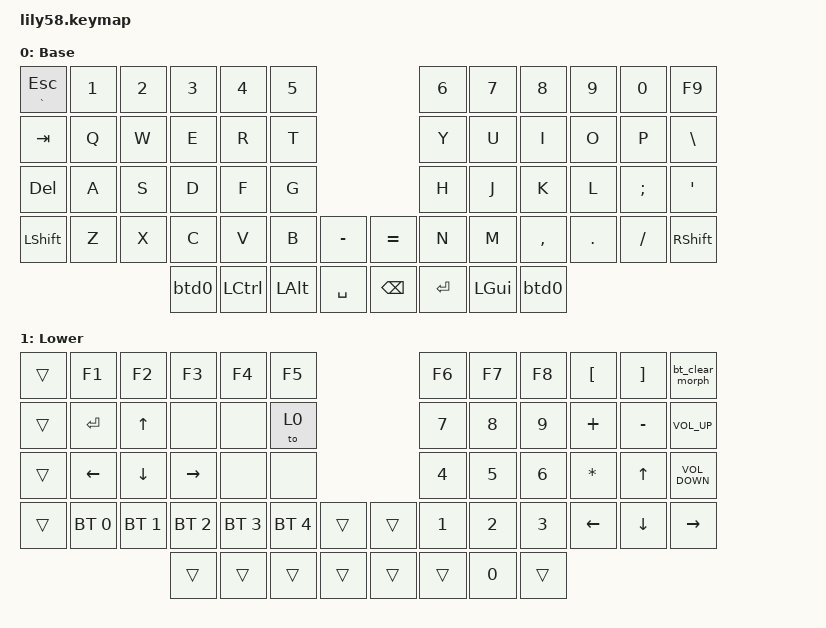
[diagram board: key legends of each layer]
/*
 * Copyright (c) 2020 The ZMK Contributors
 *
 * SPDX-License-Identifier: MIT
 */

#include <behaviors.dtsi>
#include <dt-bindings/zmk/bt.h>
#include <dt-bindings/zmk/keys.h>

/ {
    behaviors {
        btd0: tap_dance_bottom {
            compatible = "zmk,behavior-tap-dance";
            #binding-cells = <0>;
            tapping-term-ms = <150>;
            bindings = <&mo 1>, <&to 1>;
        };

        esc_grave: esc_grave_hold_tap {
            compatible = "zmk,behavior-hold-tap";
            #binding-cells = <2>;
            flavor = "hold-preferred";
            tapping-term-ms = <150>;
            bindings = <&kp>, <&kp>;
        };

        bt_clear_morph: bt_clear_morph {
            compatible = "zmk,behavior-mod-morph";
            #binding-cells = <0>;
            bindings = <&kp F10>, <&bt BT_CLR>;

            mods = <(MOD_LCTL)>;
        };
    };
};

/ {
    keymap {
        compatible = "zmk,keymap";

        default_layer {
            // ------------------------------------------------------------------------------------------------------------
            // |  ESC  |  1  |  2  |  3   |  4   |  5   |                   |  6   |  7    |  8    |  9   |   0   |   `   |
            // |  TAB  |  Q  |  W  |  E   |  R   |  T   |                   |  Y   |  U    |  I    |  O   |   P   |   -   |
            // |  CTRL |  A  |  S  |  D   |  F   |  G   |                   |  H   |  J    |  K    |  L   |   ;   |   '   |
            // | SHIFT |  Z  |  X  |  C   |  V   |  B   |   "["  |  |  "]"  |  N   |  M    |  ,    |  .   |   /   | SHIFT |
            //                     | ALT  | GUI  | LOWER|  SPACE |  | ENTER | RAISE| BSPC  | GUI   |

            display-name = "Base";
            bindings = <
&esc_grave GRAVE ESC  &kp N1  &kp N2  &kp N3  &kp N4            &kp N5                                    &kp N6     &kp N7        &kp N8     &kp N9   &kp N0    &kp F9
&kp TAB               &kp Q   &kp W   &kp E   &kp R             &kp T                                     &kp Y      &kp U         &kp I      &kp O    &kp P     &kp BACKSLASH
&kp DELETE            &kp A   &kp S   &kp D   &kp F             &kp G                                     &kp H      &kp J         &kp K      &kp L    &kp SEMI  &kp SQT
&kp LSHFT             &kp Z   &kp X   &kp C   &kp V             &kp B         &kp MINUS    &kp EQUAL      &kp N      &kp M         &kp COMMA  &kp DOT  &kp FSLH  &kp RSHFT
                                      &btd0   &kp LEFT_CONTROL  &kp LEFT_ALT  &kp SPACE    &kp BACKSPACE  &kp ENTER  &kp LEFT_GUI  &btd0
            >;
        };

        lower_layer {
            // ------------------------------------------------------------------------------------------------------------
            // | BTCLR | BT1 | BT2 |  BT3 |  BT4 |  BT5 |                   |      |       |       |      |       |       |
            // |  F1   |  F2 |  F3 |  F4  |  F5  |  F6  |                   |  F7  |  F8   |  F9   |  F10 |  F11  |  F12  |
            // |   `   |  !  |  @  |  #   |  $   |  %   |                   |  ^   |  &    |  *    |  (   |   )   |   ~   |
            // |       |     |     |      |      |      |        |  |       |      |  _    |  +    |  {   |   }   |  "|"  |
            //                     |      |      |      |        |  |       |      |       |       |

            display-name = "Lower";
            bindings = <
&trans  &kp F1          &kp F2          &kp F3           &kp F4        &kp F5                          &kp F6        &kp F7        &kp F8        &kp LEFT_BRACKET  &kp RIGHT_BRACKET  &bt_clear_morph
&trans  &kp ENTER       &kp UP_ARROW    &none            &none         &to 0                           &kp NUMBER_7  &kp NUMBER_8  &kp NUMBER_9  &kp PLUS          &kp MINUS          &kp C_VOLUME_UP
&trans  &kp LEFT_ARROW  &kp DOWN_ARROW  &kp RIGHT_ARROW  &none         &none                           &kp NUMBER_4  &kp NUMBER_5  &kp NUMBER_6  &kp ASTRK         &kp UP_ARROW       &kp C_VOLUME_DOWN
&trans  &bt BT_SEL 0    &bt BT_SEL 1    &bt BT_SEL 2     &bt BT_SEL 3  &bt BT_SEL 4  &trans    &trans  &kp NUMBER_1  &kp NUMBER_2  &kp NUMBER_3  &kp LEFT_ARROW    &kp DOWN_ARROW     &kp RIGHT_ARROW
                                        &trans           &trans        &trans        &trans    &trans  &trans        &kp NUMBER_0  &trans
            >;
        };
    };
};
